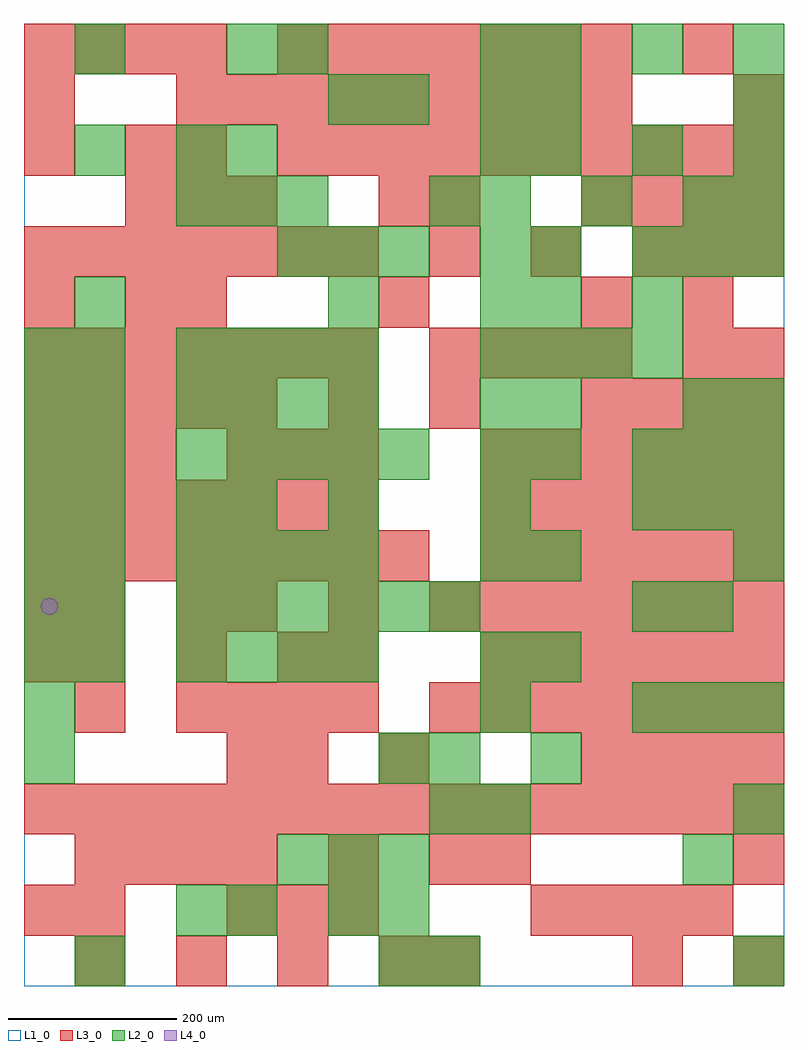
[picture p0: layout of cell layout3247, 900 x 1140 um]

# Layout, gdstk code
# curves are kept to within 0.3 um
import gdstk
lib = gdstk.Library(unit=1e-6, precision=1e-09)
def R(c, l, rs):  # rectangles x0, y0, x1, y1
    for r in rs: c.add(gdstk.rectangle(r[:2], r[2:], *l))
def A(c, l, x, y, w, h, nx, ny, dx, dy):  # array of equal rectangles
    R(c, l, [(x+i*dx, y+j*dy, x+i*dx+w, y+j*dy+h) for i in range(nx) for j in range(ny)])
def P(c, l, *ps):  # polygons
    for p in ps: c.add(gdstk.Polygon(p, *l))
L1_0 = (1, 0)
L2_0 = (2, 0)
L3_0 = (3, 0)
L4_0 = (4, 0)

layout3247 = lib.new_cell('layout3247')
R(layout3247, L1_0, [(0,0,900,1140)])
A(layout3247, L2_0, 300, 120, 60, 60, 3, 2, 60, 720)
A(layout3247, L2_0, 0, 240, 60, 60, 1, 9, 0, 60)
A(layout3247, L2_0, 600, 240, 60, 60, 1, 4, 0, 120)
A(layout3247, L2_0, 720, 300, 60, 60, 3, 2, 60, 300)
A(layout3247, L2_0, 60, 360, 60, 60, 1, 8, 0, 60)
A(layout3247, L2_0, 180, 360, 60, 60, 4, 2, 60, 120)
A(layout3247, L2_0, 540, 360, 60, 60, 1, 3, 0, 120)
A(layout3247, L2_0, 180, 420, 60, 60, 6, 1, 60, 0)
A(layout3247, L2_0, 780, 420, 60, 60, 1, 3, 0, 120)
A(layout3247, L2_0, 360, 540, 60, 60, 3, 1, 180, 0)
A(layout3247, L2_0, 180, 600, 60, 60, 5, 1, 60, 0)
A(layout3247, L2_0, 180, 660, 60, 60, 4, 2, 60, 60)
A(layout3247, L2_0, 540, 720, 60, 60, 4, 1, 60, 0)
A(layout3247, L2_0, 720, 840, 60, 60, 3, 1, 60, 0)
A(layout3247, L2_0, 180, 900, 60, 60, 3, 1, 60, 0)
A(layout3247, L2_0, 540, 900, 60, 60, 3, 1, 120, 0)
A(layout3247, L2_0, 540, 960, 60, 60, 1, 3, 0, 60)
A(layout3247, L2_0, 600, 960, 60, 60, 3, 2, 120, 120)
R(layout3247, L2_0, [(60,0,120,60), (420,0,480,60), (480,0,540,60), (840,0,900,60), (180,60,240,120), (240,60,300,120), (360,60,420,120), (420,60,480,120), (780,120,840,180), (480,180,540,240), (540,180,600,240), (840,180,900,240), (420,240,480,300), (480,240,540,300), (540,300,600,360), (720,420,780,480), (840,480,900,540), (180,540,240,600), (240,540,300,600), (840,540,900,600), (540,660,600,720), (600,660,660,720), (840,660,900,720), (360,780,420,840), (540,780,600,840), (600,780,660,840), (720,780,780,840), (540,840,600,900), (600,840,660,900), (480,900,540,960), (840,900,900,960), (60,960,120,1020), (180,960,240,1020), (240,960,300,1020), (360,1020,420,1080), (420,1020,480,1080), (600,1020,660,1080), (840,1020,900,1080), (60,1080,120,1140), (240,1080,300,1140), (300,1080,360,1140)])
A(layout3247, L3_0, 60, 0, 60, 60, 4, 1, 120, 0)
A(layout3247, L3_0, 240, 60, 60, 60, 3, 2, 60, 540)
A(layout3247, L3_0, 600, 60, 60, 60, 4, 1, 60, 0)
A(layout3247, L3_0, 60, 120, 60, 60, 4, 1, 60, 0)
A(layout3247, L3_0, 0, 180, 60, 60, 15, 1, 60, 0)
A(layout3247, L3_0, 660, 240, 60, 60, 4, 2, 60, 420)
A(layout3247, L3_0, 180, 300, 60, 60, 4, 1, 60, 0)
A(layout3247, L3_0, 480, 300, 60, 60, 7, 1, 60, 0)
A(layout3247, L3_0, 60, 360, 60, 60, 3, 1, 120, 0)
A(layout3247, L3_0, 540, 360, 60, 60, 6, 5, 60, 60)
A(layout3247, L3_0, 240, 420, 60, 60, 3, 1, 120, 0)
A(layout3247, L3_0, 0, 480, 60, 60, 8, 1, 60, 0)
A(layout3247, L3_0, 0, 540, 60, 60, 7, 2, 60, 180)
A(layout3247, L3_0, 0, 600, 60, 60, 3, 1, 60, 0)
A(layout3247, L3_0, 0, 660, 60, 60, 5, 1, 60, 0)
A(layout3247, L3_0, 480, 720, 60, 60, 4, 1, 60, 0)
A(layout3247, L3_0, 780, 720, 60, 60, 1, 3, 0, 60)
A(layout3247, L3_0, 180, 780, 60, 60, 3, 1, 240, 0)
A(layout3247, L3_0, 0, 840, 60, 60, 7, 1, 60, 0)
A(layout3247, L3_0, 480, 840, 60, 60, 3, 1, 120, 0)
A(layout3247, L3_0, 120, 900, 60, 60, 3, 1, 60, 0)
A(layout3247, L3_0, 660, 900, 60, 60, 4, 1, 60, 0)
A(layout3247, L3_0, 300, 960, 60, 60, 10, 1, 60, 0)
A(layout3247, L3_0, 180, 1020, 60, 60, 9, 1, 60, 0)
A(layout3247, L3_0, 0, 1080, 60, 60, 4, 1, 60, 0)
A(layout3247, L3_0, 300, 1080, 60, 60, 7, 1, 60, 0)
R(layout3247, L3_0, [(480,0,540,60), (720,0,780,60), (840,0,900,60), (0,60,60,120), (60,60,120,120), (360,120,420,180), (480,120,540,180), (540,120,600,180), (840,120,900,180), (240,240,300,300), (300,240,360,300), (420,240,480,300), (60,300,120,360), (0,360,60,420), (360,360,420,420), (0,420,60,480), (60,420,120,480), (180,420,240,480), (360,660,420,720), (480,660,540,720), (840,720,900,780), (0,780,60,840), (120,780,180,840), (840,840,900,900), (420,900,480,960), (480,900,540,960), (0,960,60,1020), (120,960,180,1020), (180,960,240,1020), (0,1020,60,1080), (840,1020,900,1080), (780,1080,840,1140)])
P(layout3247, L4_0, [(40,450),(39.239,453.827),(37.071,457.071),(33.827,459.239),(30,460),(26.173,459.239),(22.929,457.071),(20.761,453.827),(20,450),(20.761,446.173),(22.929,442.929),(26.173,440.761),(30,440),(33.827,440.761),(37.071,442.929),(39.239,446.173)])

lib.write_gds('layout3247.gds')
